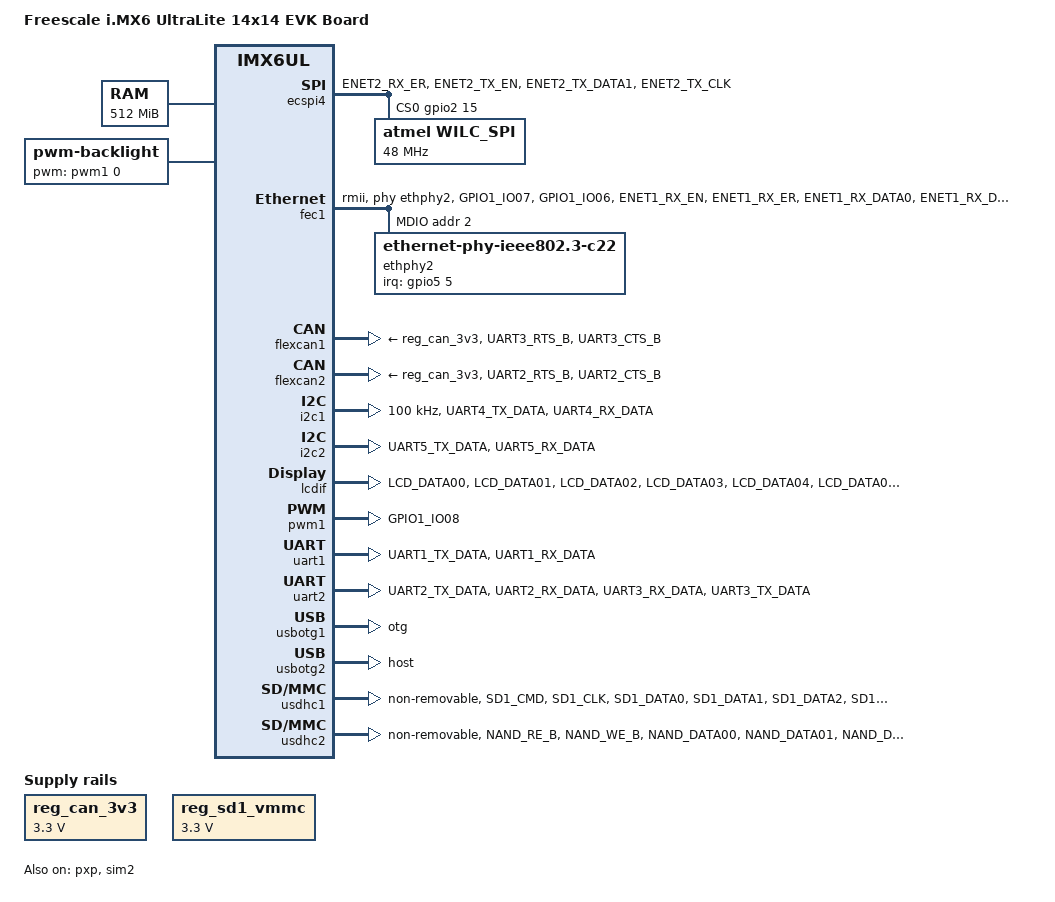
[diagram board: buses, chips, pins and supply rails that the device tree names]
/*
 * Copyright (C) 2015 Freescale Semiconductor, Inc.
 *
 * This program is free software; you can redistribute it and/or modify
 * it under the terms of the GNU General Public License version 2 as
 * published by the Free Software Foundation.
 */

/dts-v1/;

#include <dt-bindings/input/input.h>
#include "imx6ul-novasomU.dtsi"

/ {
	model = "Freescale i.MX6 UltraLite 14x14 EVK Board";
	compatible = "fsl,imx6ul-14x14-evk", "fsl,imx6ul";

	chosen {
		stdout-path = &uart1;
	};

	memory {
		reg = <0x80000000 0x20000000>;
	};

	reserved-memory {
		#address-cells = <1>;
		#size-cells = <1>;
		ranges;

		linux,cma {
			compatible = "shared-dma-pool";
			reusable;
			size = <0x14000000>;
			linux,cma-default;
		};
	};

	backlight {
		compatible = "pwm-backlight";
		pwms = <&pwm1 0 5000000>;
		brightness-levels = <0 4 8 16 32 64 128 255>;
		default-brightness-level = <6>;
		status = "okay";
	};

	pxp_v4l2 {
		compatible = "fsl,imx6ul-pxp-v4l2", "fsl,imx6sx-pxp-v4l2", "fsl,imx6sl-pxp-v4l2";
		status = "okay";
	};

	regulators {
		compatible = "simple-bus";
		#address-cells = <1>;
		#size-cells = <0>;

		reg_can_3v3: regulator@0 {
			compatible = "regulator-fixed";
			reg = <0>;
			regulator-name = "can-3v3";
			regulator-min-microvolt = <3300000>;
			regulator-max-microvolt = <3300000>;
		};

		reg_sd1_vmmc: regulator@1 {
			compatible = "regulator-fixed";
			regulator-name = "VSD_3V3";
			regulator-min-microvolt = <3300000>;
			regulator-max-microvolt = <3300000>;
		};

	};

};

&ecspi4 {
               fsl,spi-num-chipselects = <1>;
               cs-gpios = <&gpio2 15 0>;
               pinctrl-names = "default";
               pinctrl-0 = <&pinctrl_ecspi4>;
               status = "okay";

		wilc_spi@0 {
			compatible = "atmel,wilc_spi";
			spi-max-frequency = <48000000>;
			reg = <0>;
			status = "okay";
		};
};

&cpu0 {
	arm-supply = <&reg_arm>;
	soc-supply = <&reg_soc>;
};

&clks {
	assigned-clocks = <&clks IMX6UL_CLK_PLL4_AUDIO_DIV>;
	assigned-clock-rates = <786432000>;
};

&csi {
	status = "disabled";
};

&fec1 {
	pinctrl-names = "default";
	pinctrl-0 = <&pinctrl_enet1>;
	phy-mode = "rmii";
	phy-handle = <&ethphy2>;
	local-mac-address = [00 04 9F 01 1B B9];
        phy-reset-gpios = <&gpio5 9 GPIO_ACTIVE_HIGH>;
	phy-reset-duration = <1>;
	status = "okay";

	mdio {
		#address-cells = <1>;
		#size-cells = <0>;

		ethphy2: ethernet-phy@2 {
			compatible = "ethernet-phy-ieee802.3-c22";
			interrupt-parent = <&gpio5>;
			interrupts = <5 8>;
			reg = <2>;
		};
	};
};

&flexcan1 {
	pinctrl-names = "default";
	pinctrl-0 = <&pinctrl_flexcan1>;
	xceiver-supply = <&reg_can_3v3>;
	status = "okay";
};

&flexcan2 {
	pinctrl-names = "default";
	pinctrl-0 = <&pinctrl_flexcan2>;
	xceiver-supply = <&reg_can_3v3>;
	status = "okay";
};

&gpc {
	fsl,cpu_pupscr_sw2iso = <0x1>;
	fsl,cpu_pupscr_sw = <0x0>;
	fsl,cpu_pdnscr_iso2sw = <0x1>;
	fsl,cpu_pdnscr_iso = <0x1>;
	fsl,ldo-bypass = <0>; /* DCDC, ldo-enable */
};

&i2c1 {
	clock-frequency = <100000>;
	pinctrl-names = "default";
	pinctrl-0 = <&pinctrl_i2c1>;
	status = "okay";
};

&i2c2 {
	clock_frequency = <100000>;
	pinctrl-names = "default";
	pinctrl-0 = <&pinctrl_i2c2>;
	status = "okay";
};

&iomuxc {
	pinctrl-names = "default";
	imx6ul-evk {
                pinctrl_hog_1: hoggrp-1 {
                        fsl,pins = <
                                MX6UL_PAD_GPIO1_IO03__REF_CLK_32K         0x1b088
                        >;
                };

		pinctrl_csi1: csi1grp {
			fsl,pins = <
				MX6UL_PAD_CSI_MCLK__CSI_MCLK		0x1b088
				MX6UL_PAD_CSI_PIXCLK__CSI_PIXCLK	0x1b088
				MX6UL_PAD_CSI_VSYNC__CSI_VSYNC		0x1b088
				MX6UL_PAD_CSI_HSYNC__CSI_HSYNC		0x1b088
				MX6UL_PAD_CSI_DATA00__CSI_DATA02	0x1b088
				MX6UL_PAD_CSI_DATA01__CSI_DATA03	0x1b088
				MX6UL_PAD_CSI_DATA02__CSI_DATA04	0x1b088
				MX6UL_PAD_CSI_DATA03__CSI_DATA05	0x1b088
				MX6UL_PAD_CSI_DATA04__CSI_DATA06	0x1b088
				MX6UL_PAD_CSI_DATA05__CSI_DATA07	0x1b088
				MX6UL_PAD_CSI_DATA06__CSI_DATA08	0x1b088
				MX6UL_PAD_CSI_DATA07__CSI_DATA09	0x1b088
			>;
		};


		pinctrl_enet1: enet1grp {
		fsl,pins = <
				MX6UL_PAD_GPIO1_IO07__ENET1_MDC		0x1b0a9
				MX6UL_PAD_GPIO1_IO06__ENET1_MDIO	0x1b8a9
				MX6UL_PAD_ENET1_RX_EN__ENET1_RX_EN	0x1b0a9
				MX6UL_PAD_ENET1_RX_ER__ENET1_RX_ER	0x1b0a9
				MX6UL_PAD_ENET1_RX_DATA0__ENET1_RDATA00 0x1b0a9
				MX6UL_PAD_ENET1_RX_DATA1__ENET1_RDATA01 0x1b0a9
				MX6UL_PAD_ENET1_TX_EN__ENET1_TX_EN	0x1b0a9
				MX6UL_PAD_ENET1_TX_DATA0__ENET1_TDATA00 0x000a9
				MX6UL_PAD_ENET1_TX_DATA1__ENET1_TDATA01 0x000a9
				MX6UL_PAD_ENET1_TX_CLK__ENET1_REF_CLK1	0x4001b031
			>;
		};

		pinctrl_flexcan1: flexcan1grp{
			fsl,pins = <
				MX6UL_PAD_UART3_RTS_B__FLEXCAN1_RX	0x1b020
				MX6UL_PAD_UART3_CTS_B__FLEXCAN1_TX	0x1b020
			>;
		};

		pinctrl_flexcan2: flexcan2grp{
			fsl,pins = <
				MX6UL_PAD_UART2_RTS_B__FLEXCAN2_RX	0x1b020
				MX6UL_PAD_UART2_CTS_B__FLEXCAN2_TX	0x1b020
			>;
		};

		pinctrl_i2c1: i2c1grp {
			fsl,pins = <
				MX6UL_PAD_UART4_TX_DATA__I2C1_SCL 0x4001b8b0
				MX6UL_PAD_UART4_RX_DATA__I2C1_SDA 0x4001b8b0
			>;
		};

		pinctrl_i2c2: i2c2grp {
			fsl,pins = <
				MX6UL_PAD_UART5_TX_DATA__I2C2_SCL 0x4001b8b0
				MX6UL_PAD_UART5_RX_DATA__I2C2_SDA 0x4001b8b0
			>;
		};

		pinctrl_lcdif_dat: lcdifdatgrp {
			fsl,pins = <
				MX6UL_PAD_LCD_DATA00__LCDIF_DATA00  0x79
				MX6UL_PAD_LCD_DATA01__LCDIF_DATA01  0x79
				MX6UL_PAD_LCD_DATA02__LCDIF_DATA02  0x79
				MX6UL_PAD_LCD_DATA03__LCDIF_DATA03  0x79
				MX6UL_PAD_LCD_DATA04__LCDIF_DATA04  0x79
				MX6UL_PAD_LCD_DATA05__LCDIF_DATA05  0x79
				MX6UL_PAD_LCD_DATA06__LCDIF_DATA06  0x79
				MX6UL_PAD_LCD_DATA07__LCDIF_DATA07  0x79
				MX6UL_PAD_LCD_DATA08__LCDIF_DATA08  0x79
				MX6UL_PAD_LCD_DATA09__LCDIF_DATA09  0x79
				MX6UL_PAD_LCD_DATA10__LCDIF_DATA10  0x79
				MX6UL_PAD_LCD_DATA11__LCDIF_DATA11  0x79
				MX6UL_PAD_LCD_DATA12__LCDIF_DATA12  0x79
				MX6UL_PAD_LCD_DATA13__LCDIF_DATA13  0x79
				MX6UL_PAD_LCD_DATA14__LCDIF_DATA14  0x79
				MX6UL_PAD_LCD_DATA15__LCDIF_DATA15  0x79
				MX6UL_PAD_LCD_DATA16__LCDIF_DATA16  0x79
				MX6UL_PAD_LCD_DATA17__LCDIF_DATA17  0x79
				MX6UL_PAD_LCD_DATA18__LCDIF_DATA18  0x79
				MX6UL_PAD_LCD_DATA19__LCDIF_DATA19  0x79
				MX6UL_PAD_LCD_DATA20__LCDIF_DATA20  0x79
				MX6UL_PAD_LCD_DATA21__LCDIF_DATA21  0x79
				MX6UL_PAD_LCD_DATA22__LCDIF_DATA22  0x79
				MX6UL_PAD_LCD_DATA23__LCDIF_DATA23  0x79
			>;
		};

		pinctrl_lcdif_ctrl: lcdifctrlgrp {
			fsl,pins = <
				MX6UL_PAD_LCD_CLK__LCDIF_CLK	    0x79
				MX6UL_PAD_LCD_ENABLE__LCDIF_ENABLE  0x79
				MX6UL_PAD_LCD_HSYNC__LCDIF_HSYNC    0x79
				MX6UL_PAD_LCD_VSYNC__LCDIF_VSYNC    0x79
				/* used for lcd reset */
				MX6UL_PAD_SNVS_TAMPER9__GPIO5_IO09  0x79
			>;
		};

		pinctrl_pwm1: pwm1grp {
			fsl,pins = <
				MX6UL_PAD_GPIO1_IO08__PWM1_OUT   0x110b0
			>;
		};


		pinctrl_sim2_1: sim2grp-1 {
			fsl,pins = <
				MX6UL_PAD_CSI_DATA03__SIM2_PORT1_PD		0xb808
				MX6UL_PAD_CSI_DATA04__SIM2_PORT1_CLK		0x11
				MX6UL_PAD_CSI_DATA05__SIM2_PORT1_RST_B		0xb810
				MX6UL_PAD_CSI_DATA06__SIM2_PORT1_SVEN		0xb810
				MX6UL_PAD_CSI_DATA07__SIM2_PORT1_TRXD		0xb811
				MX6UL_PAD_CSI_DATA02__GPIO4_IO23		0x3008
			>;
		};

		pinctrl_ecspi4: ecspi4grp {
			fsl,pins = <
				MX6UL_PAD_ENET2_RX_ER__GPIO2_IO15            0x10b0
				MX6UL_PAD_ENET2_TX_EN__ECSPI4_MOSI         0x100b1
				MX6UL_PAD_ENET2_TX_DATA1__ECSPI4_SCLK    0x100b1
				MX6UL_PAD_ENET2_TX_CLK__ECSPI4_MISO        0x100b1
			>;
		};

		pinctrl_uart1: uart1grp {
			fsl,pins = <
				MX6UL_PAD_UART1_TX_DATA__UART1_DCE_TX 0x1b0b1
				MX6UL_PAD_UART1_RX_DATA__UART1_DCE_RX 0x1b0b1
			>;
		};

		pinctrl_uart2: uart2grp {
			fsl,pins = <
				MX6UL_PAD_UART2_TX_DATA__UART2_DCE_TX	0x1b0b1
				MX6UL_PAD_UART2_RX_DATA__UART2_DCE_RX	0x1b0b1
				MX6UL_PAD_UART3_RX_DATA__UART2_DCE_RTS	0x1b0b1
				MX6UL_PAD_UART3_TX_DATA__UART2_DCE_CTS	0x1b0b1
			>;
		};

		pinctrl_uart2dte: uart2dtegrp {
			fsl,pins = <
				MX6UL_PAD_UART2_TX_DATA__UART2_DTE_RX	0x1b0b1
				MX6UL_PAD_UART2_RX_DATA__UART2_DTE_TX	0x1b0b1
				MX6UL_PAD_UART3_RX_DATA__UART2_DTE_CTS	0x1b0b1
				MX6UL_PAD_UART3_TX_DATA__UART2_DTE_RTS	0x1b0b1
			>;
		};

		pinctrl_usdhc1: usdhc1grp {
			fsl,pins = <
				MX6UL_PAD_SD1_CMD__USDHC1_CMD     0x17059
				MX6UL_PAD_SD1_CLK__USDHC1_CLK     0x10071
				MX6UL_PAD_SD1_DATA0__USDHC1_DATA0 0x17059
				MX6UL_PAD_SD1_DATA1__USDHC1_DATA1 0x17059
				MX6UL_PAD_SD1_DATA2__USDHC1_DATA2 0x17059
				MX6UL_PAD_SD1_DATA3__USDHC1_DATA3 0x17059
			>;
		};

		pinctrl_usdhc1_100mhz: usdhc1grp100mhz {
			fsl,pins = <
				MX6UL_PAD_SD1_CMD__USDHC1_CMD     0x170b9
				MX6UL_PAD_SD1_CLK__USDHC1_CLK     0x100b9
				MX6UL_PAD_SD1_DATA0__USDHC1_DATA0 0x170b9
				MX6UL_PAD_SD1_DATA1__USDHC1_DATA1 0x170b9
				MX6UL_PAD_SD1_DATA2__USDHC1_DATA2 0x170b9
				MX6UL_PAD_SD1_DATA3__USDHC1_DATA3 0x170b9
			>;
		};

		pinctrl_usdhc1_200mhz: usdhc1grp200mhz {
			fsl,pins = <
				MX6UL_PAD_SD1_CMD__USDHC1_CMD     0x170f9
				MX6UL_PAD_SD1_CLK__USDHC1_CLK     0x100f9
				MX6UL_PAD_SD1_DATA0__USDHC1_DATA0 0x170f9
				MX6UL_PAD_SD1_DATA1__USDHC1_DATA1 0x170f9
				MX6UL_PAD_SD1_DATA2__USDHC1_DATA2 0x170f9
				MX6UL_PAD_SD1_DATA3__USDHC1_DATA3 0x170f9
			>;
		};

		pinctrl_usdhc2: usdhc2grp {
			fsl,pins = <
				MX6UL_PAD_NAND_RE_B__USDHC2_CLK     0x10069
				MX6UL_PAD_NAND_WE_B__USDHC2_CMD     0x17059
				MX6UL_PAD_NAND_DATA00__USDHC2_DATA0 0x17059
				MX6UL_PAD_NAND_DATA01__USDHC2_DATA1 0x17059
				MX6UL_PAD_NAND_DATA02__USDHC2_DATA2 0x17059
				MX6UL_PAD_NAND_DATA03__USDHC2_DATA3 0x17059
			>;
		};

		pinctrl_wdog: wdoggrp {
			fsl,pins = <
				MX6UL_PAD_LCD_RESET__WDOG1_WDOG_ANY    0x30b0
			>;
		};
	};
};

&lcdif {
	pinctrl-names = "default";
	pinctrl-0 = <&pinctrl_lcdif_dat
		     &pinctrl_lcdif_ctrl>;
	display = <&display0>;
	status = "okay";

	display0: display {
		bits-per-pixel = <16>;
		bus-width = <24>;

		display-timings {
			native-mode = <&timing0>;
			timing0: timing0 {
			clock-frequency = <9200000>;
			hactive = <480>;
			vactive = <272>;
			hfront-porch = <8>;
			hback-porch = <4>;
			hsync-len = <41>;
			vback-porch = <2>;
			vfront-porch = <4>;
			vsync-len = <10>;

			hsync-active = <0>;
			vsync-active = <0>;
			de-active = <1>;
			pixelclk-active = <0>;
			};
		};
	};
};

&pwm1 {
	pinctrl-names = "default";
	pinctrl-0 = <&pinctrl_pwm1>;
	status = "okay";
};

&pxp {
	status = "okay";
};

&sim2 {
	pinctrl-names = "default";
	pinctrl-0 = <&pinctrl_sim2_1>;
	assigned-clocks = <&clks IMX6UL_CLK_SIM_SEL>;
	assigned-clock-parents = <&clks IMX6UL_CLK_SIM_PODF>;
	assigned-clock-rates = <240000000>;
	/* GPIO_ACTIVE_HIGH/LOW:sim card voltage control
	 * NCN8025:Vcc = ACTIVE_HIGH?5V:3V
	 * TDA8035:Vcc = ACTIVE_HIGH?5V:1.8V
	 */
	pinctrl-assert-gpios = <&gpio4 23 GPIO_ACTIVE_HIGH>;
	port = <1>;
	sven_low_active;
	status = "okay";
};

&uart1 {
	pinctrl-names = "default";
	pinctrl-0 = <&pinctrl_uart1>;
	status = "okay";
};

&uart2 {
	pinctrl-names = "default";
	pinctrl-0 = <&pinctrl_uart2>;
	fsl,uart-has-rtscts;
	/* for DTE mode, add below change */
	/* fsl,dte-mode; */
	/* pinctrl-0 = <&pinctrl_uart2dte>; */
	status = "okay";
};

&usbotg1 {
	dr_mode = "otg";
	srp-disable;
	hnp-disable;
	adp-disable;
	status = "okay";
};

&usbotg2 {
	dr_mode = "host";
	disable-over-current;
	status = "okay";
};

&usbphy1 {
	tx-d-cal = <0x5>;
};

&usbphy2 {
	tx-d-cal = <0x5>;
};

&usdhc1 {
	pinctrl-names = "default", "state_100mhz", "state_200mhz";
	pinctrl-0 = <&pinctrl_usdhc1>;
	pinctrl-1 = <&pinctrl_usdhc1_100mhz>;
	pinctrl-2 = <&pinctrl_usdhc1_200mhz>;
	/*cd-gpios = <&gpio1 19 GPIO_ACTIVE_LOW>;*/
	non-removable;
	keep-power-in-suspend;
	enable-sdio-wakeup;
	/*vmmc-supply = <&reg_sd1_vmmc>;*/
	status = "okay";
};

&usdhc2 {
	pinctrl-names = "default";
	pinctrl-0 = <&pinctrl_usdhc2>;
	no-1-8-v;
	non-removable;
	keep-power-in-suspend;
	enable-sdio-wakeup;
	status = "okay";
};

&wdog1 {
	pinctrl-names = "default";
	pinctrl-0 = <&pinctrl_wdog>;
	fsl,wdog_b;
};
